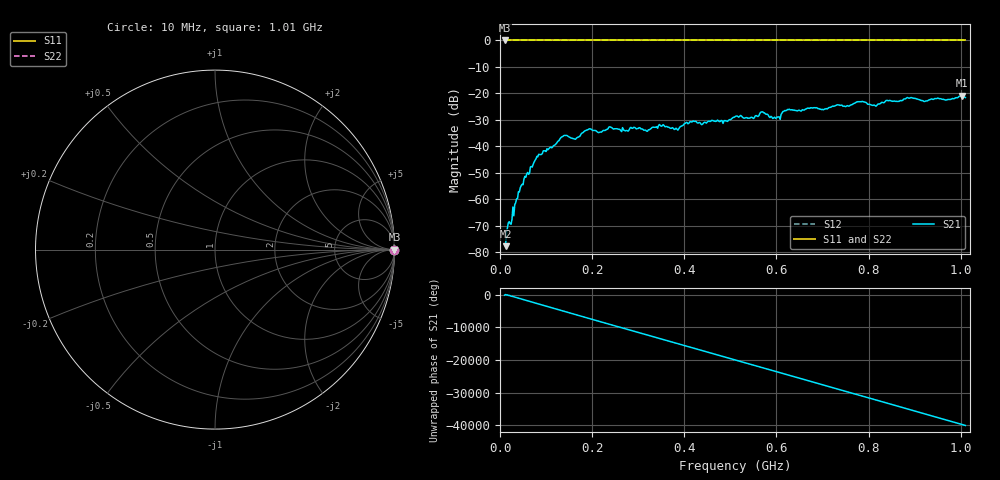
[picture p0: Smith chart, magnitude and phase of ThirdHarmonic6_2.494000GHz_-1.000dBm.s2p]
! 8/17/2025 4:44:28 AM
! C:\ANRITSUVNA\TEMP\TEMP.S2P
! CHANNEL.1
! TR.MEASUREMENT
! RAW.DATA
! RF.CORRECTION.OFF
! AVERAGING.OFF
! IF.BANDWIDTH: 5KHZ
! SWEEPTYPE:  FREQ.SWEEP(Linear)
! Reference Plane Port Info
! PORT:  PORT1  PORT2
! DISTANCE:  0  m  0  m
! TIME:  0  s  0  s
! PHASE.OFFSET:  0  deg.  0  deg.
! LOSS:  0  dB  0  dB
! REF.LOSS:  0  dB  0  dB
! REF.FREQ:  0  Hz  0  Hz
! Power Info
! POWER:  -20  dBm  -20  dBm
! EFF.POWER:  -20  dBm  -20  dBm
! SOURCE.ATTEN:  0  dB  0  dB
! TEST.ATTEN:  0  dB  0  dB
# GHZ S RI R 50.0
! FREQ.GHZ  S11RE  S11IM  S21RE  S21IM  S12RE  S12IM  S22RE  S22IM
!; PortSelection: Port_12
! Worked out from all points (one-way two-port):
!   501 points, 10 MHz to 1.01 GHz, reference 50 ohm
!   highest |S21| = -20.88 dB at 1.002 GHz (marker M1); lowest = -77.6 dB at 12 MHz (marker M2)
!   lowest |S11| = 0.0 dB at 10 MHz (marker M3)
!   |S11| at or under -10 dB: nowhere
!   |S22| runs from 0.0 to 0.0 dB; largest |S21 - S12| = 1.1
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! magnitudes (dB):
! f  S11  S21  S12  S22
! 10 MHz  0.0  -76.8  0.0  0.0
! 12 MHz  0.0  -77.6  0.0  0.0
! 18 MHz  0.0  -68.9  0.0  0.0
! 26 MHz  0.0  -67.6  0.0  0.0
! 44 MHz  0.0  -55.6  0.0  0.0
! 80 MHz  0.0  -43.7  0.0  0.0
! 136 MHz  0.0  -36.3  0.0  0.0
! 162 MHz  0.0  -37.2  0.0  0.0
! 178 MHz  0.0  -34.9  0.0  0.0
! 344 MHz  0.0  -32.1  0.0  0.0
! 382 MHz  0.0  -33.1  0.0  0.0
! 416 MHz  0.0  -30.8  0.0  0.0
! 510 MHz  0.0  -28.8  0.0  0.0
! 548 MHz  0.0  -29.1  0.0  0.0
! 570 MHz  0.0  -26.9  0.0  0.0
! 604 MHz  0.0  -28.9  0.0  0.0
! 622 MHz  0.0  -26.4  0.0  0.0
! 678 MHz  0.0  -25.5  0.0  0.0
! 814 MHz  0.0  -24.6  0.0  0.0
! 844 MHz  0.0  -22.8  0.0  0.0
! 1.002 GHz  0.0  -20.9  0.0  0.0
! 1.01 GHz  0.0  -21.5  0.0  0.0
